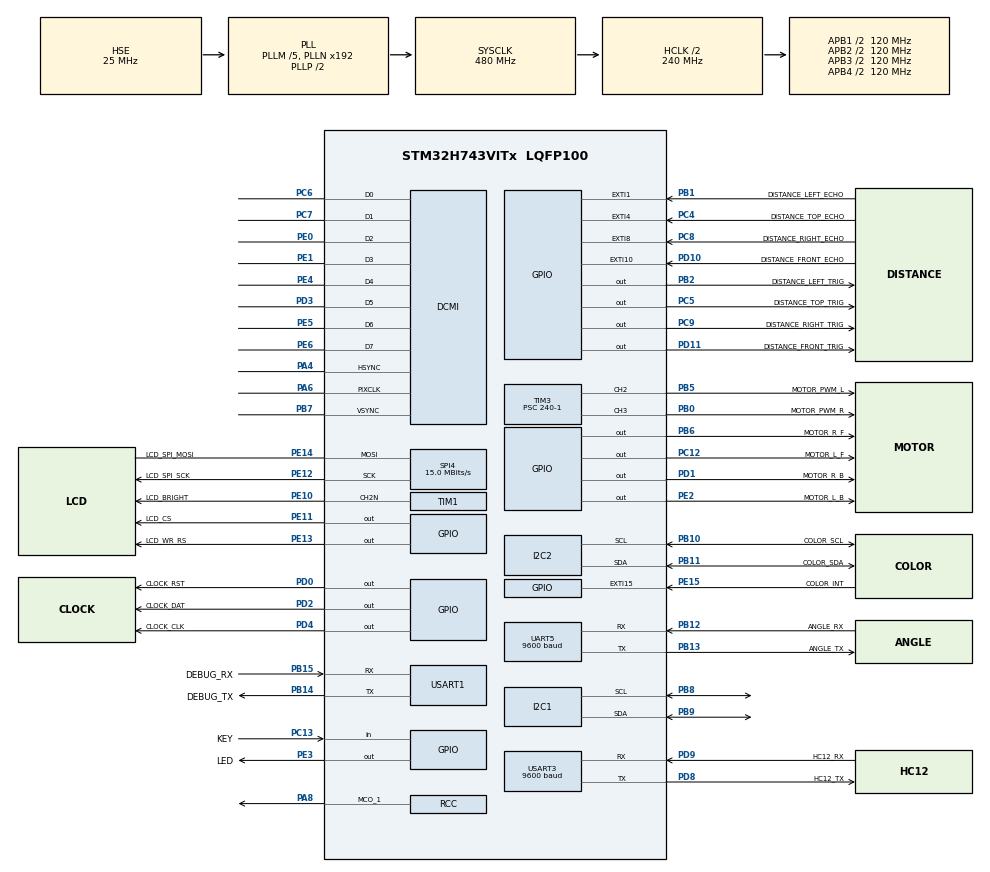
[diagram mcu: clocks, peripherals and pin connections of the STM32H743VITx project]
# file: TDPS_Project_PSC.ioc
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CORTEX_M7.CPU_DCache=Enabled
CORTEX_M7.CPU_ICache=Enabled
DCMI.JPEGMode=DCMI_JPEG_DISABLE
DCMI.PCKPolarity=DCMI_PCKPOLARITY_RISING
Dma.DCMI.0.Direction=DMA_PERIPH_TO_MEMORY
Dma.DCMI.0.EventEnable=DISABLE
Dma.DCMI.0.FIFOMode=DMA_FIFOMODE_DISABLE
Dma.DCMI.0.Instance=DMA1_Stream0
Dma.DCMI.0.MemDataAlignment=DMA_MDATAALIGN_WORD
Dma.DCMI.0.MemInc=DMA_MINC_ENABLE
Dma.DCMI.0.Mode=DMA_CIRCULAR
Dma.DCMI.0.PeriphDataAlignment=DMA_PDATAALIGN_WORD
Dma.DCMI.0.PeriphInc=DMA_PINC_DISABLE
Dma.DCMI.0.Polarity=HAL_DMAMUX_REQ_GEN_RISING
Dma.DCMI.0.Priority=DMA_PRIORITY_LOW
Dma.DCMI.0.RequestNumber=1
Dma.DCMI.0.SignalID=NONE
Dma.DCMI.0.SyncEnable=DISABLE
Dma.DCMI.0.SyncPolarity=HAL_DMAMUX_SYNC_NO_EVENT
Dma.DCMI.0.SyncRequestNumber=1
Dma.DCMI.0.SyncSignalID=NONE
Dma.Request0=DCMI
I2C1.Timing=0x307075B1
I2C2.Timing=0x307075B1
Mcu.Family=STM32H7
Mcu.Name=STM32H743VITx
Mcu.Package=LQFP100
NVIC.DCMI_IRQn=true\:0\:0\:false\:false\:true\:true\:true
NVIC.DMA1_Stream0_IRQn=true\:0\:0\:false\:false\:true\:false\:true
NVIC.EXTI15_10_IRQn=true\:0\:0\:false\:false\:true\:true\:true
NVIC.EXTI1_IRQn=true\:0\:0\:false\:false\:true\:true\:true
NVIC.EXTI4_IRQn=true\:0\:0\:false\:false\:true\:true\:true
NVIC.EXTI9_5_IRQn=true\:0\:0\:false\:false\:true\:true\:true
NVIC.LPTIM1_IRQn=true\:0\:0\:false\:false\:true\:true\:true
NVIC.LPTIM2_IRQn=true\:0\:0\:false\:false\:true\:true\:true
NVIC.LPTIM3_IRQn=true\:0\:0\:false\:false\:true\:true\:true
NVIC.LPTIM4_IRQn=true\:0\:0\:false\:false\:true\:true\:true
NVIC.LPTIM5_IRQn=true\:0\:0\:false\:false\:true\:true\:true
NVIC.PriorityGroup=NVIC_PRIORITYGROUP_4
NVIC.TIM8_UP_TIM13_IRQn=true\:0\:0\:false\:false\:true\:true\:true
NVIC.UART5_IRQn=true\:0\:0\:false\:false\:true\:true\:true
PA4.Mode=Slave_8_bits_External_Synchro
PA4.Signal=DCMI_HSYNC
PA6.Mode=Slave_8_bits_External_Synchro
PA6.Signal=DCMI_PIXCLK
PA8.Mode=Clock-out-1
PA8.Signal=RCC_MCO_1
PB0.GPIO_Label=MOTOR_PWM_R
PB0.Signal=S_TIM3_CH3
PB1.GPIO_Label=DISTANCE_LEFT_ECHO
PB1.GPIO_ModeDefaultEXTI=GPIO_MODE_IT_RISING_FALLING
PB1.GPIO_PuPd=GPIO_PULLDOWN
PB1.Signal=GPXTI1
PB10.GPIO_Label=COLOR_SCL
PB10.Mode=I2C
PB10.Signal=I2C2_SCL
PB11.GPIO_Label=COLOR_SDA
PB11.Mode=I2C
PB11.Signal=I2C2_SDA
PB12.GPIO_Label=ANGLE_RX
PB12.Mode=Asynchronous
PB12.Signal=UART5_RX
PB13.GPIO_Label=ANGLE_TX
PB13.Mode=Asynchronous
PB13.Signal=UART5_TX
PB14.GPIO_Label=DEBUG_TX
PB14.Mode=Asynchronous
PB14.Signal=USART1_TX
PB15.GPIO_Label=DEBUG_RX
PB15.Mode=Asynchronous
PB15.Signal=USART1_RX
PB2.GPIO_Label=DISTANCE_LEFT_TRIG
PB2.Signal=GPIO_Output
PB5.GPIO_Label=MOTOR_PWM_L
PB5.Signal=S_TIM3_CH2
PB6.GPIO_Label=MOTOR_R_F
PB6.Signal=GPIO_Output
PB7.Mode=Slave_8_bits_External_Synchro
PB7.Signal=DCMI_VSYNC
PB8.Mode=I2C
PB8.Signal=I2C1_SCL
PB9.Mode=I2C
PB9.Signal=I2C1_SDA
PC12.GPIO_Label=MOTOR_L_F
PC12.Signal=GPIO_Output
PC13.GPIO_Label=KEY
PC13.GPIO_PuPd=GPIO_PULLDOWN
PC13.Signal=GPIO_Input
PC14-OSC32_IN\ (OSC32_IN).Mode=LSE-External-Oscillator
PC14-OSC32_IN\ (OSC32_IN).Signal=RCC_OSC32_IN
PC15-OSC32_OUT\ (OSC32_OUT).Mode=LSE-External-Oscillator
PC15-OSC32_OUT\ (OSC32_OUT).Signal=RCC_OSC32_OUT
PC4.GPIO_Label=DISTANCE_TOP_ECHO
PC4.GPIO_ModeDefaultEXTI=GPIO_MODE_IT_RISING_FALLING
PC4.GPIO_PuPd=GPIO_PULLDOWN
PC4.Signal=GPXTI4
PC5.GPIO_Label=DISTANCE_TOP_TRIG
PC5.Signal=GPIO_Output
PC6.Mode=Slave_8_bits_External_Synchro
PC6.Signal=DCMI_D0
PC7.Mode=Slave_8_bits_External_Synchro
PC7.Signal=DCMI_D1
PC8.GPIO_Label=DISTANCE_RIGHT_ECHO
PC8.GPIO_ModeDefaultEXTI=GPIO_MODE_IT_RISING_FALLING
PC8.GPIO_PuPd=GPIO_PULLDOWN
PC8.Signal=GPXTI8
PC9.GPIO_Label=DISTANCE_RIGHT_TRIG
PC9.Signal=GPIO_Output
PD0.GPIO_Label=CLOCK_RST
PD0.Signal=GPIO_Output
PD1.GPIO_Label=MOTOR_R_B
PD1.Signal=GPIO_Output
PD10.GPIO_Label=DISTANCE_FRONT_ECHO
PD10.GPIO_ModeDefaultEXTI=GPIO_MODE_IT_RISING_FALLING
PD10.GPIO_PuPd=GPIO_PULLDOWN
PD10.Signal=GPXTI10
PD11.GPIO_Label=DISTANCE_FRONT_TRIG
PD11.Signal=GPIO_Output
PD2.GPIO_Label=CLOCK_DAT
PD2.Signal=GPIO_Output
PD3.Mode=Slave_8_bits_External_Synchro
PD3.Signal=DCMI_D5
PD4.GPIO_Label=CLOCK_CLK
PD4.Signal=GPIO_Output
PD8.GPIO_Label=HC12_TX
PD8.Mode=Asynchronous
PD8.Signal=USART3_TX
PD9.GPIO_Label=HC12_RX
PD9.Mode=Asynchronous
PD9.Signal=USART3_RX
PE0.Mode=Slave_8_bits_External_Synchro
PE0.Signal=DCMI_D2
PE1.Mode=Slave_8_bits_External_Synchro
PE1.Signal=DCMI_D3
PE10.GPIO_Label=LCD_BRIGHT
PE10.Mode=PWM Generation2 CH2N
PE10.Signal=TIM1_CH2N
PE11.GPIO_Label=LCD_CS
PE11.GPIO_Speed=GPIO_SPEED_FREQ_VERY_HIGH
PE11.Signal=GPIO_Output
PE12.GPIO_Label=LCD_SPI_SCK
PE12.Mode=Simplex_Bidirectional_Master
PE12.Signal=SPI4_SCK
PE13.GPIO_Label=LCD_WR_RS
PE13.GPIO_Speed=GPIO_SPEED_FREQ_VERY_HIGH
PE13.Signal=GPIO_Output
PE14.GPIO_Label=LCD_SPI_MOSI
PE14.Mode=Simplex_Bidirectional_Master
PE14.Signal=SPI4_MOSI
PE15.GPIO_Label=COLOR_INT
PE15.GPIO_PuPd=GPIO_PULLDOWN
PE15.Signal=GPXTI15
PE2.GPIO_Label=MOTOR_L_B
PE2.Signal=GPIO_Output
PE3.GPIO_Label=LED
PE3.Signal=GPIO_Output
PE4.Mode=Slave_8_bits_External_Synchro
PE4.Signal=DCMI_D4
PE5.Mode=Slave_8_bits_External_Synchro
PE5.Signal=DCMI_D6
PE6.Mode=Slave_8_bits_External_Synchro
PE6.Signal=DCMI_D7
PH0-OSC_IN\ (PH0).Mode=HSE-External-Oscillator
PH0-OSC_IN\ (PH0).Signal=RCC_OSC_IN
PH1-OSC_OUT\ (PH1).Mode=HSE-External-Oscillator
PH1-OSC_OUT\ (PH1).Signal=RCC_OSC_OUT
ProjectManager.HeapSize=0x4000
ProjectManager.StackSize=0x6000
ProjectManager.TargetToolchain=SW4STM32
RCC.ADCFreq_Value=2000000
RCC.APB1Freq_Value=120000000
RCC.APB2Freq_Value=120000000
RCC.APB3Freq_Value=120000000
RCC.APB4Freq_Value=120000000
RCC.CortexFreq_Value=480000000
RCC.D1PPRE=RCC_APB3_DIV2
RCC.D2PPRE1=RCC_APB1_DIV2
RCC.D2PPRE2=RCC_APB2_DIV2
RCC.D3PPRE=RCC_APB4_DIV2
RCC.DIVM1=5
RCC.DIVM2=5
RCC.DIVN1=192
RCC.DIVN2=30
RCC.DIVP2=75
RCC.DIVQ2=128
RCC.HCLKFreq_Value=240000000
RCC.HPRE=RCC_HCLK_DIV2
RCC.LPTIM1CLockSelection=RCC_LPTIM1CLKSOURCE_LSI
RCC.LPTIM2CLockSelection=RCC_LPTIM2CLKSOURCE_PLL2
RCC.LPTIM345CLockSelection=RCC_LPTIM345CLKSOURCE_PLL2
RCC.PLL2FRACN=0
RCC.PLL3FRACN=0
RCC.PLLFRACN=0
RCC.PLLSourceVirtual=RCC_PLLSOURCE_HSE
RCC.PWR_Regulator_Voltage_Scale=PWR_REGULATOR_VOLTAGE_SCALE0
RCC.RCC_MCO1Source=RCC_MCO1SOURCE_HSI48
RCC.RCC_MCODiv1=RCC_MCODIV_4
RCC.SYSCLKFreq_VALUE=480000000
RCC.SYSCLKSource=RCC_SYSCLKSOURCE_PLLCLK
RCC.USBFreq_Value=480000000
SH.S_TIM3_CH2.0=TIM3_CH2,PWM Generation2 CH2
SH.S_TIM3_CH3.0=TIM3_CH3,PWM Generation3 CH3
SPI4.BaudRatePrescaler=SPI_BAUDRATEPRESCALER_8
SPI4.CalculateBaudRate=15.0 MBits/s
SPI4.DataSize=SPI_DATASIZE_8BIT
SPI4.Direction=SPI_DIRECTION_1LINE
SPI4.Mode=SPI_MODE_MASTER
SPI4.VirtualType=VM_MASTER
STMicroelectronics.X-CUBE-AI.6.0.0.ActivationBufferSizeList=76556
STMicroelectronics.X-CUBE-AI.6.0.0.ApplicationCcDeviceJjApplication=ApplicationTemplate
STMicroelectronics.X-CUBE-AI.6.0.0.HeapSize=0x4000
STMicroelectronics.X-CUBE-AI.6.0.0.InternalRamActivationBufferMaxSize=AI_TDPS_NETWORK_DATA_ACTIVATIONS_SIZE
STMicroelectronics.X-CUBE-AI.6.0.0.LatestDirectoryUsed-0ce65e248a497069feafd30f2161a465af93d07f5497eef791eddf14a504161a=/Users/psc/Template
STMicroelectronics.X-CUBE-AI.6.0.0.MaximumNumberOfInputLayer=1
STMicroelectronics.X-CUBE-AI.6.0.0.MaximumNumberOfOutputLayer=1
STMicroelectronics.X-CUBE-AI.6.0.0.MaximumSizeOfInputLayer=AI_TDPS_NETWORK_IN_1_SIZE_BYTES
STMicroelectronics.X-CUBE-AI.6.0.0.MaximumSizeOfOutputLayer=AI_TDPS_NETWORK_OUT_1_SIZE_BYTES
STMicroelectronics.X-CUBE-AI.6.0.0.ModelActualCompression-0ce65e248a497069feafd30f2161a465af93d07f5497eef791eddf14a504161a=0.0
STMicroelectronics.X-CUBE-AI.6.0.0.ModelCompression-0ce65e248a497069feafd30f2161a465af93d07f5497eef791eddf14a504161a=1
STMicroelectronics.X-CUBE-AI.6.0.0.ModelFlashOccupation-0ce65e248a497069feafd30f2161a465af93d07f5497eef791eddf14a504161a=1237164
STMicroelectronics.X-CUBE-AI.6.0.0.ModelHashList=0ce65e248a497069feafd30f2161a465af93d07f5497eef791eddf14a504161a
STMicroelectronics.X-CUBE-AI.6.0.0.ModelKind-0ce65e248a497069feafd30f2161a465af93d07f5497eef791eddf14a504161a=ONNX
STMicroelectronics.X-CUBE-AI.6.0.0.ModelMacc-0ce65e248a497069feafd30f2161a465af93d07f5497eef791eddf14a504161a=1195216
STMicroelectronics.X-CUBE-AI.6.0.0.ModelName-0ce65e248a497069feafd30f2161a465af93d07f5497eef791eddf14a504161a=tdps_network
STMicroelectronics.X-CUBE-AI.6.0.0.ModelNameList=tdps_network
STMicroelectronics.X-CUBE-AI.6.0.0.ModelRamOccupation-0ce65e248a497069feafd30f2161a465af93d07f5497eef791eddf14a504161a=76556
STMicroelectronics.X-CUBE-AI.6.0.0.ModelStructureFile-0ce65e248a497069feafd30f2161a465af93d07f5497eef791eddf14a504161a=/Users/psc/Template/final_sim.onnx
STMicroelectronics.X-CUBE-AI.6.0.0.ModelType-0ce65e248a497069feafd30f2161a465af93d07f5497eef791eddf14a504161a=Saved model
STMicroelectronics.X-CUBE-AI.6.0.0.StackSize=0x6000
STMicroelectronics.X-CUBE-AI.6.0.0.WorkingBufferStartAddrList=0xFFFFFFFF
STMicroelectronics.X-CUBE-AI.6.0.0.XAaCUBEAaAICcArtificialOoIntelligenceJjCore=true
TIM1.Channel-PWM\ Generation2\ CH2N=TIM_CHANNEL_2
TIM1.OCNPolarity_2=TIM_OCNPOLARITY_LOW
TIM1.Period=12-1
TIM1.RepetitionCounter=1000-1
TIM13.Period=1000
TIM13.Prescaler=48000
TIM16.Period=100-1
TIM16.Prescaler=480-1
TIM3.Channel-PWM\ Generation2\ CH2=TIM_CHANNEL_2
TIM3.Channel-PWM\ Generation3\ CH3=TIM_CHANNEL_3
TIM3.Period=1000-1
TIM3.Prescaler=240-1
UART5.BaudRate=9600
USART1.VirtualMode-Asynchronous=VM_ASYNC
USART3.BaudRate=9600
USART3.VirtualMode-Asynchronous=VM_ASYNC
VP_CRC_VS_CRC.Mode=CRC_Activate
VP_LPTIM1_VS_LPTIM_counterModeInternalClock.Mode=Counts__internal_clock_event_00
VP_LPTIM2_VS_LPTIM_counterModeInternalClock.Mode=Counts__internal_clock_event_00
VP_LPTIM3_VS_LPTIM_counterModeInternalClock.Mode=Counts__internal_clock_event_00
VP_LPTIM4_VS_LPTIM_counterModeInternalClock.Mode=Counts__internal_clock_event_00
VP_LPTIM5_VS_LPTIM_counterModeInternalClock.Mode=Counts__internal_clock_event_00
VP_STMicroelectronics.X-CUBE-AI_VS_ArtificialOoIntelligenceJjXAaCUBEAaAI_6.0.0.Mode=ArtificialOoIntelligenceJjXAaCUBEAaAI
VP_STMicroelectronics.X-CUBE-AI_VS_DeviceJjApplication_6.0.0.Mode=DeviceJjApplication
VP_TIM13_VS_ClockSourceINT.Mode=Enable_Timer
VP_TIM16_VS_ClockSourceINT.Mode=Enable_Timer
board=custom

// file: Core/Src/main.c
/* USER CODE BEGIN Header */
/**
  ******************************************************************************
  * @file           : main.c
  * @brief          : Main program body
  ******************************************************************************
  * @attention89
  *
  * <h2><center>&copy; Copyright (c) 2021 STMicroelectronics.
  * All rights reserved.</center></h2>
  *
  * This software component is licensed by ST under Ultimate Liberty license
  * SLA0044, the "License"; You may not use this file except in compliance with
  * the License. You may obtain a copy of the License at:
  *                             www.st.com/SLA0044
  *
  ******************************************************************************
  */
/* USER CODE END Header */
#include "main.h"
#include "crc.h"
#include "dcmi.h"
#include "dma.h"
#include "i2c.h"
#include "lptim.h"
#include "spi.h"
#include "tim.h"
#include "usart.h"
#include "gpio.h"
#include "app_x-cube-ai.h"

/* USER CODE BEGIN Includes */
#include <stdio.h>
#include "delay.h"
#include "Color.h"
#include "DS1302.h"
#include "HCSR04.h"
#include "JY901S.h"
#include "motor.h"
#include "control.h"
#include "patio1.h"
#include "patio2.h"
/* USER CODE END Includes */

/* USER CODE BEGIN PD */
#define ANGLE_P_DATA 0.006
#define ANGLE_I_DATA 0.0000
#define ANGLE_D_DATA 0.000

//#define ANGLE_P_DATA 0.006
//#define ANGLE_I_DATA 0.00000
//#define ANGLE_D_DATA 0.000

#define DISTANCE_P_DATA 0.005
#define DISTANCE_I_DATA 0.000
#define DISTANCE_D_DATA 0.000
/* USER CODE END PD */

/* USER CODE BEGIN PV */
Motor_Pair_Connector motor_pair_connector = {
        MOTOR_L_F_GPIO_Port, MOTOR_L_F_Pin,
        MOTOR_L_B_GPIO_Port, MOTOR_L_B_Pin,
        MOTOR_R_F_GPIO_Port, MOTOR_R_F_Pin,
        MOTOR_R_B_GPIO_Port, MOTOR_R_B_Pin,
};

Motor_Pair motor_pair;

HCSR04_Connector hcsr04_connector_front = {
        DISTANCE_FRONT_TRIG_GPIO_Port, DISTANCE_FRONT_TRIG_Pin,
        DISTANCE_FRONT_ECHO_GPIO_Port, DISTANCE_FRONT_ECHO_Pin
};

HCSR04 hcsr04_front;

HCSR04_Connector hcsr04_connector_left = {
        DISTANCE_LEFT_TRIG_GPIO_Port, DISTANCE_LEFT_TRIG_Pin,
        DISTANCE_LEFT_ECHO_GPIO_Port, DISTANCE_LEFT_ECHO_Pin
};

HCSR04 hcsr04_left;

AngleFilterQueue angle_filter_queue = {{0}, 0, 0};

JY901S jy901s;

PID_Controller angle_pid_controller;
PID_Controller distance_pid_controller;

TCS34725 color_sensor;
COLOR_RGBC_RAW raw_buffer;
COLOR_CMYK cmyk_buffer;
COLOR_HSL hsl_buffer;

int d_time = 0;
/* USER CODE END PV */

void SystemClock_Config(void);
void PeriphCommonClock_Config(void);

int main(void)
{

  /* Enable I-Cache---------------------------------------------------------*/
  SCB_EnableICache();

  /* Enable D-Cache---------------------------------------------------------*/
  SCB_EnableDCache();

  /* MCU Configuration--------------------------------------------------------*/

  /* Reset of all peripherals, Initializes the Flash interface and the Systick. */
  HAL_Init();

  /* Configure the system clock */
  SystemClock_Config();

/* Configure the peripherals common clocks */
  PeriphCommonClock_Config();

  /* Initialize all configured peripherals */
  MX_GPIO_Init();
  MX_DMA_Init();
  MX_CRC_Init();
  MX_DCMI_Init();
  MX_I2C2_Init();
  MX_LPTIM1_Init();
  MX_LPTIM2_Init();
  MX_LPTIM3_Init();
  MX_LPTIM4_Init();
  MX_SPI4_Init();
  MX_TIM1_Init();
  MX_UART5_Init();
  MX_USART3_UART_Init();
  MX_I2C1_Init();
  MX_TIM16_Init();
  MX_USART1_UART_Init();
  MX_TIM3_Init();
  MX_LPTIM5_Init();
  MX_TIM13_Init();
  MX_X_CUBE_AI_Init();
  /* USER CODE BEGIN 2 */
    Motor_Init(&motor_pair, motor_pair_connector, &htim3, &htim3, TIM_CHANNEL_2, TIM_CHANNEL_3);

    HCSR04_Init(&hcsr04_front, hcsr04_connector_front, &hlptim2, 2);
    HCSR04_Init(&hcsr04_left, hcsr04_connector_left, &hlptim3, 2);
    HCSR04_Background_INT_Trigger(&hlptim1);

    JY901S_Init(&jy901s, &huart5, &angle_filter_queue);

//    HAL_Delay(3000);
    PID_Init(&angle_pid_controller, 0, ANGLE_P_DATA, ANGLE_I_DATA, ANGLE_D_DATA);
    PID_Init(&distance_pid_controller, 50, DISTANCE_P_DATA, DISTANCE_I_DATA, DISTANCE_D_DATA);

    TCS34725_Init(&color_sensor, &hi2c2);
  /* USER CODE END 2 */

  /* Infinite loop */
  /* USER CODE BEGIN WHILE */
    HAL_Delay(1000);
int color = 0;
//    Motor_Straight(&motor_pair, 0.3);

Patio1();
return 0;

//    while(1)
//    {
//            TCS34725_GetRawData(&color_sensor, &raw_buffer);
//            TCS34725_RAW_To_CMYK(&raw_buffer, &cmyk_buffer);
//            TCS34725_RAW_To_HSL(&raw_buffer, &hsl_buffer);
//
//            printf(cmyk_buffer.c < cmyk_buffer.m ? (cmyk_buffer.m < cmyk_buffer.y ? "yellow\r\n" : "red\r\n") : (cmyk_buffer.c < cmyk_buffer.y ? "yellow\r\n" : "blue\r\n"));
//            printf("%d\r\n", hsl_buffer.s);
//    }

    while(!(color = isOnColor()))
    {
        Motor_Straight(&motor_pair, 0.3);
    }
    Motor_Stop(&motor_pair);
    HAL_Delay(1000);
    HAL_TIM_Base_Start_IT(&htim13);
    if(color == 1)
    {
        TurnTo(&jy901s, &motor_pair, 45, 0.3, 100, 2);
        while(d_time < 37)
        {
            Keep_Angle_Forward(&motor_pair, &jy901s, &angle_pid_controller, 0.5, 45);
        }
        Motor_Stop(&motor_pair);
        return 0;
    }
    else if(color == 3)
    {
        TurnTo(&jy901s, &motor_pair, 0, 0.3, 100, 2);
        while(hcsr04_front.distance > 55)
        {
            Keep_Angle_Forward(&motor_pair, &jy901s, &angle_pid_controller, 0.5, 0);

        }
    }
    else
    {
        TurnTo(&jy901s, &motor_pair, -45, 0.3, 100, 2);
        while(d_time < 37)
        {
            Keep_Angle_Forward(&motor_pair, &jy901s, &angle_pid_controller, 0.5, -45);
        }
        Motor_Stop(&motor_pair);
        return 0;
    }

    TurnTo(&jy901s, &motor_pair, -90, 0.3, 100, 2);
    while(hcsr04_left.distance < 300)
    {
        Keep_Angle_Forward(&motor_pair, &jy901s, &angle_pid_controller, 0.9, -90);
    }
    HAL_Delay(3000);
    for(int i = 0; i < 8; i++)
    {
        TurnTo(&jy901s, &motor_pair, 0, 0.3, 100, 2);
        Motor_Straight(&motor_pair, 0.5);
        HAL_Delay(1000);
    }
    TurnTo(&jy901s, &motor_pair, -90, 0.3, 100, 1);
    while(hcsr04_front.distance > 40)
    {
        Keep_Angle_Forward(&motor_pair, &jy901s, &angle_pid_controller, 0.5, -90);
    }
    Motor_Stop(&motor_pair);
    HAL_Delay(1000);
    TurnTo(&jy901s, &motor_pair, 90, 0.4, 100, 1);
    while(hcsr04_front.distance > 50)
    {
        Keep_Angle_Forward(&motor_pair, &jy901s, &angle_pid_controller, 0.4, 87);
    }
    Motor_Stop(&motor_pair);
    printf("Hello World!\nPowerful Science Council\n2021/06/18 22:13:07\n\nShichen Peng 2429660P\nJinyu Yin 2429418Y\nYuxuan Wang 2429632W\nChenyue Wang 2429285W\nYuhui Zhang2429310Z\nYuhan Wu 2429633W\nYuxuan Liu 2429662L\nYueling Zhao 2429312Z\nYuxin Yang 2429637Y\nXincheng Zhu 2429649Z\n");
    return 0;

    while (1)
  {

//        while(1)
//        {
//            TCS34725_GetRawData(&color_sensor, &raw_buffer);
//            TCS34725_RAW_To_CMYK(&raw_buffer, &cmyk_buffer);
//            TCS34725_RAW_To_HSL(&raw_buffer, &hsl_buffer);

//            printf(cmyk_buffer.c < cmyk_buffer.m ? (cmyk_buffer.m < cmyk_buffer.y ? "yellow\r\n" : "red\r\n") : (cmyk_buffer.c < cmyk_buffer.y ? "yellow\r\n" : "blue\r\n"));
//            printf("%d\r\n", hsl_buffer.s);
//        }

//      HAL_TIM_Base_Start_IT(&htim13);
//      while(d_time < 37)
//      {
//          Motor_Straight(&motor_pair, 0.5);
//      }
//      Motor_Stop(&motor_pair);
//      return 0;

//      TCS34725_GetRawData(&color_sensor, &raw_buffer);
//      TCS34725_RAW_To_CMYK(&raw_buffer, &cmyk_buffer);
//      TCS34725_RAW_To_HSL(&raw_buffer, &hsl_buffer);
//      printf(cmyk_buffer.c < cmyk_buffer.m ? (cmyk_buffer.m < cmyk_buffer.y ? "yellow\r\n" : "red\r\n") : (cmyk_buffer.c < cmyk_buffer.y ? "yellow\r\n" : "blue\r\n"));
//      printf("%d\r\n", hsl_buffer.s);

    /* USER CODE END WHILE */

//  MX_X_CUBE_AI_Process();
  }
}

void SystemClock_Config(void)
{
  RCC_OscInitTypeDef RCC_OscInitStruct = {0};
  RCC_ClkInitTypeDef RCC_ClkInitStruct = {0};

  /** Supply configuration update enable
  */
  HAL_PWREx_ConfigSupply(PWR_LDO_SUPPLY);
  /** Configure the main internal regulator output voltage
  */
  __HAL_PWR_VOLTAGESCALING_CONFIG(PWR_REGULATOR_VOLTAGE_SCALE0);

  while(!__HAL_PWR_GET_FLAG(PWR_FLAG_VOSRDY)) {}
  /** Macro to configure the PLL clock source
  */
  __HAL_RCC_PLL_PLLSOURCE_CONFIG(RCC_PLLSOURCE_HSE);
  /** Initializes the RCC Oscillators according to the specified parameters
  * in the RCC_OscInitTypeDef structure.
  */
  RCC_OscInitStruct.OscillatorType = RCC_OSCILLATORTYPE_HSI48|RCC_OSCILLATORTYPE_LSI
                              |RCC_OSCILLATORTYPE_HSE;
  RCC_OscInitStruct.HSEState = RCC_HSE_ON;
  RCC_OscInitStruct.LSIState = RCC_LSI_ON;
  RCC_OscInitStruct.HSI48State = RCC_HSI48_ON;
  RCC_OscInitStruct.PLL.PLLState = RCC_PLL_ON;
  RCC_OscInitStruct.PLL.PLLSource = RCC_PLLSOURCE_HSE;
  RCC_OscInitStruct.PLL.PLLM = 5;
  RCC_OscInitStruct.PLL.PLLN = 192;
  RCC_OscInitStruct.PLL.PLLP = 2;
  RCC_OscInitStruct.PLL.PLLQ = 2;
  RCC_OscInitStruct.PLL.PLLR = 2;
  RCC_OscInitStruct.PLL.PLLRGE = RCC_PLL1VCIRANGE_2;
  RCC_OscInitStruct.PLL.PLLVCOSEL = RCC_PLL1VCOWIDE;
  RCC_OscInitStruct.PLL.PLLFRACN = 0;
  if (HAL_RCC_OscConfig(&RCC_OscInitStruct) != HAL_OK)
  {
    Error_Handler();
  }
  /** Initializes the CPU, AHB and APB buses clocks
  */
  RCC_ClkInitStruct.ClockType = RCC_CLOCKTYPE_HCLK|RCC_CLOCKTYPE_SYSCLK
                              |RCC_CLOCKTYPE_PCLK1|RCC_CLOCKTYPE_PCLK2
                              |RCC_CLOCKTYPE_D3PCLK1|RCC_CLOCKTYPE_D1PCLK1;
  RCC_ClkInitStruct.SYSCLKSource = RCC_SYSCLKSOURCE_PLLCLK;
  RCC_ClkInitStruct.SYSCLKDivider = RCC_SYSCLK_DIV1;
  RCC_ClkInitStruct.AHBCLKDivider = RCC_HCLK_DIV2;
  RCC_ClkInitStruct.APB3CLKDivider = RCC_APB3_DIV2;
  RCC_ClkInitStruct.APB1CLKDivider = RCC_APB1_DIV2;
  RCC_ClkInitStruct.APB2CLKDivider = RCC_APB2_DIV2;
  RCC_ClkInitStruct.APB4CLKDivider = RCC_APB4_DIV2;

  if (HAL_RCC_ClockConfig(&RCC_ClkInitStruct, FLASH_LATENCY_4) != HAL_OK)
  {
    Error_Handler();
  }
  HAL_RCC_MCOConfig(RCC_MCO1, RCC_MCO1SOURCE_HSI48, RCC_MCODIV_4);
}

void PeriphCommonClock_Config(void)
{
  RCC_PeriphCLKInitTypeDef PeriphClkInitStruct = {0};

  /** Initializes the peripherals clock
  */
  PeriphClkInitStruct.PeriphClockSelection = RCC_PERIPHCLK_LPTIM2|RCC_PERIPHCLK_LPTIM3
                              |RCC_PERIPHCLK_LPTIM4|RCC_PERIPHCLK_LPTIM5;
  PeriphClkInitStruct.PLL2.PLL2M = 5;
  PeriphClkInitStruct.PLL2.PLL2N = 30;
  PeriphClkInitStruct.PLL2.PLL2P = 75;
  PeriphClkInitStruct.PLL2.PLL2Q = 128;
  PeriphClkInitStruct.PLL2.PLL2R = 2;
  PeriphClkInitStruct.PLL2.PLL2RGE = RCC_PLL2VCIRANGE_2;
  PeriphClkInitStruct.PLL2.PLL2VCOSEL = RCC_PLL2VCOMEDIUM;
  PeriphClkInitStruct.PLL2.PLL2FRACN = 0;
  PeriphClkInitStruct.Lptim2ClockSelection = RCC_LPTIM2CLKSOURCE_PLL2;
  PeriphClkInitStruct.Lptim345ClockSelection = RCC_LPTIM345CLKSOURCE_PLL2;
  if (HAL_RCCEx_PeriphCLKConfig(&PeriphClkInitStruct) != HAL_OK)
  {
    Error_Handler();
  }
}

void Error_Handler(void)
{
  __disable_irq();
  while (1)
  {
  }
}

/************************ (C) COPYRIGHT STMicroelectronics *****END OF FILE****/
